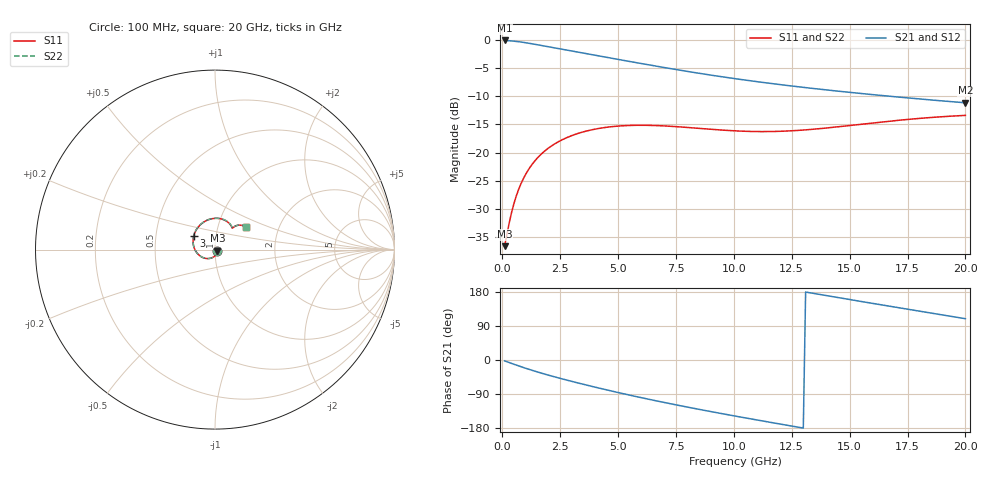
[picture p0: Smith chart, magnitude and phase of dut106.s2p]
! Touchstone file exported from HFSS 2023.1.0
!  File:  D:/Users/fzz/RDL_TSV/temp_RDL_TSV_106_1778749353.aedt
!  Generated:  5:13:02 %x4E0B%x5348  5%x6708 14, 2026
!  Design:  RDL_TSV
!  Project:  temp_RDL_TSV_106_1778749353
!  Setup:  Setup1
!  Solution:  Sweep
! Variables:
!  dtsv = 14.43um
!  hbump = 3um
!  htsv = 96.96um
!  ldown = 623.6um
!  lrdl = 371.77um
!  p = 40
!  p1 = 42.28um
!  rhole = 10um
!  subl = 3357.88um
!  t = 450um
!  tdown = 4.75um
!  trdl = 4.05um
!  viad = 10um
!  wdown = 16.61um
!  wrdl = 29.51um
!  xbump = 18um
# GHz S MA R 50.000000
! Terminal data exported
! Port[1] = TM1_1_T1
! Port[2] = TM1_4_T1
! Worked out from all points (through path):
!   200 points, 100 MHz to 20 GHz, reference 50 ohm
!   highest |S21| = -0.13 dB at 100 MHz (marker M1); lowest = -11.2 dB at 20 GHz (marker M2)
!   group delay of S21, straight-line fit = 33 ps
!   lowest |S11| = -36.6 dB at 100 MHz (marker M3), VSWR 1.03, Z = 51.3 - j0.699 ohm
!   |S11| at or under -10 dB: start of sweep to end of sweep
!   |S22| runs from -36.6 to -13.4 dB; largest |S21 - S12| = 9.2e-15
!   S11 on the Smith chart (normalised r, x): 100 MHz: 1.03, -0.01; 3 GHz: 0.78, +0.12; 20 GHz: 1.36, +0.36
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0.1  0.01479 -27.4  0.9857 -2.3  0.9857 -2.3  0.01479 -27.4
! Gamma 0 0 0 0
! Port Impedance 50 0 50 0
0.3  0.02382 -67.3  0.9801 -6.8  0.9801 -6.8  0.02382 -67.4
0.5  0.03514 -90.9  0.9719 -11.2  0.9719 -11.2  0.03513 -91.0
0.8  0.05249 -115.1  0.9554 -17.5  0.9554 -17.5  0.05249 -115.2
1.1  0.06895 -134.0  0.9347 -23.6  0.9347 -23.6  0.06896 -134.1
1.5  0.08873 -155.2  0.9041 -31.2  0.9041 -31.2  0.0888 -155.3
1.9  0.1059 -173.4  0.8727 -38.4  0.8727 -38.4  0.1061 -173.6
2.4  0.124 166.8  0.8349 -46.8  0.8349 -46.8  0.1242 166.7
3  0.1413 146.7  0.7926 -56.4  0.7926 -56.4  0.1417 146.5
3.5  0.1526 132.3  0.7595 -64.1  0.7595 -64.1  0.1531 132.1
4.2  0.164 115.1  0.716 -74.5  0.716 -74.5  0.1647 115.0
5  0.1716 99.0  0.6692 -85.9  0.6692 -85.9  0.1725 98.9
5.9  0.1745 84.5  0.6205 -98.1  0.6205 -98.1  0.1756 84.3
6.8  0.173 73.1  0.576 -109.7  0.576 -109.7  0.1741 73.0
8.4  0.1644 59.7  0.508 -129.1  0.508 -129.1  0.1656 59.5
10.1  0.1555 52.9  0.4503 -148.4  0.4503 -148.4  0.1567 52.7
11.7  0.1537 51.1  0.4073 -165.8  0.4073 -165.8  0.1547 50.9
13.4  0.1607 50.6  0.3703 176.2  0.3703 176.2  0.1618 50.4
15.1  0.1745 49.0  0.34 158.6  0.34 158.6  0.1756 48.9
16.7  0.1895 45.9  0.3159 142.2  0.3159 142.2  0.1906 45.8
18.3  0.203 41.5  0.2952 126.0  0.2952 126.0  0.2042 41.5
20  0.2135 36.2  0.2761 109.0  0.2761 109.0  0.2148 36.2
